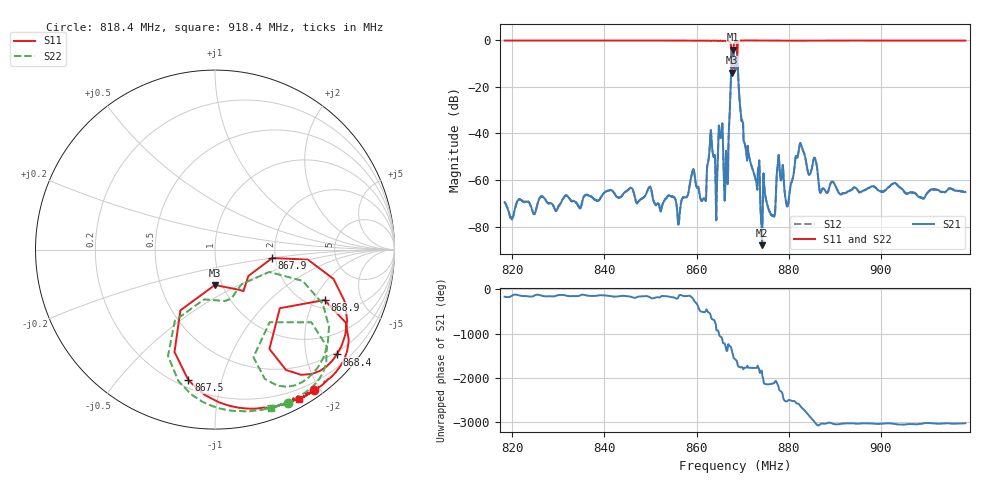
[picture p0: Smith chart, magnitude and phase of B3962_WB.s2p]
! Matrix data file written by TouchstoneData, EPCOS AG
! FILENAME: "B3962/LU83A_WB.s2p"
! COMMENT: "PINNING 1/4; PORTEX 1=103PS; 2=189.5PS;  6 O"
! INFO: nport=2, nfreq=1601
! DATE: "Wed Oct  7 09:23:46 2009"
! USER: "Aleksander Breg"
! port | pin | signal
!  1  |  1  |  IN
!  2  |  4  |  OUT
# MHZ S MA R 50
! freq  magS11 angS11  magS21 angS21  magS12 angS12  magS22 angS22
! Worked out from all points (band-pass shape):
!   1601 points, 818.4 MHz to 918.4 MHz, reference 50 ohm
!   highest |S21| = -4.22 dB at 867.9 MHz (marker M1); lowest = -87.6 dB at 874.2 MHz (marker M2)
!   |S21| within 3 dB of the highest: 867.623 MHz to 868.0455 MHz (422.5 kHz wide, 0.0487 % of centre); 868.8197 MHz to 868.8636 MHz (43.98 kHz wide, 0.00506 % of centre)
!   lowest |S11| = -14.1 dB at 867.7 MHz (marker M3), VSWR 1.49, Z = 46.2 - j19 ohm
!   |S11| at or under -10 dB: 867.6191 MHz to 867.9084 MHz (289.3 kHz wide, 0.0333 % of centre)
!   |S22| runs from -12.3 to -0.5 dB; largest |S21 - S12| = 0.0046
!   S11 on the Smith chart (normalised r, x): 818.4 MHz: 0.10, -1.93; 867.5 MHz: 0.24, -0.79; 867.9 MHz: 1.92, -0.20; 868.4 MHz: 0.44, -2.63; 868.9 MHz: 2.38, -2.43; 918.4 MHz: 0.09, -1.71
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818.35  0.9592 -54.7  0.0003439 -163.8  0.0003422 -164.3  0.9439 -64.6
835.0375  0.9586 -56.0  0.0002967 -118.2  0.0003068 -118.5  0.942 -65.7
851.725  0.9575 -57.6  0.0003222 -177.1  0.0003184 -177.0  0.9404 -67.1
861.6  0.9553 -59.8  0.0004185 -151.8  0.0004122 -151.4  0.9385 -69.1
862.85  0.9525 -60.7  0.00499 -175.3  0.004964 -174.9  0.9354 -69.9
865.225  0.9486 -63.0  0.008035 13.9  0.008004 14.4  0.9326 -72.0
866.35  0.9388 -67.3  0.002666 142.5  0.002647 143.0  0.9252 -75.8
867.475  0.7432 -101.5  0.161 132.2  0.161 132.5  0.76 -105.6
867.6625  0.1972 -90.2  0.5178 55.9  0.517 56.0  0.2839 -102.3
867.85  0.237 -38.3  0.6154 -25.6  0.6131 -25.4  0.2434 -52.6
867.9125  0.3227 -8.4  0.5974 -50.8  0.5942 -50.7  0.3262 -22.5
868.35  0.896 -40.7  0.2352 -136.3  0.2333 -135.9  0.8793 -51.7
868.9125  0.6718 -24.7  0.3697 99.5  0.3662 99.7  0.6728 -37.0
870.5375  0.9622 -51.7  0.00564 32.6  0.005595 33.2  0.9433 -61.6
874.225  0.9601 -55.7  4.159e-05 -92.3  3.96e-05 -85.9  0.9418 -65.4
876.6  0.959 -56.7  0.0001787 35.5  0.0001762 37.5  0.9408 -66.3
877.85  0.9546 -56.9  0.003472 -65.4  0.003443 -64.7  0.9368 -66.5
879.7875  0.9553 -57.4  0.0002821 8.4  0.0002865 9.2  0.9369 -67.0
882.6  0.9503 -57.4  0.006138 -126.2  0.006079 -125.4  0.933 -67.0
885.0375  0.9551 -57.7  0.00183 -42.5  0.001817 -41.6  0.9365 -67.3
901.725  0.956 -59.4  0.0007211 -144.2  0.0007223 -143.2  0.9366 -69.1
918.35  0.956 -60.6  0.0005659 -143.3  0.0005623 -141.3  0.9357 -70.5
